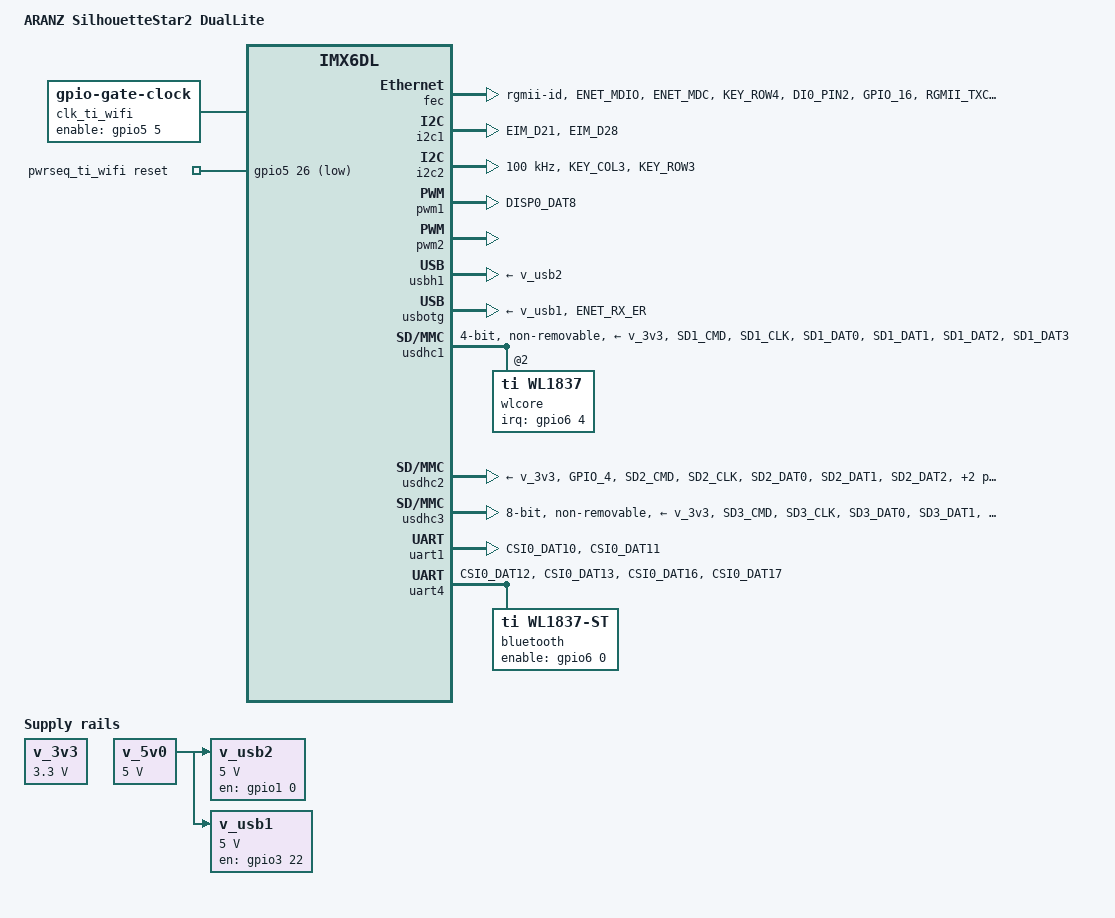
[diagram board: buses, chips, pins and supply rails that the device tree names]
/*
 * Copyright (C) 2014 Rabeeh Khoury (rabeeh@solid-run.com)
 * Based on dt work by Russell King
 *
 * This file is dual-licensed: you can use it either under the terms
 * of the GPL or the X11 license, at your option. Note that this dual
 * licensing only applies to this file, and not this project as a
 * whole.
 *
 *  a) This file is free software; you can redistribute it and/or
 *     modify it under the terms of the GNU General Public License
 *     version 2 as published by the Free Software Foundation.
 *
 *     This file is distributed in the hope that it will be useful,
 *     but WITHOUT ANY WARRANTY; without even the implied warranty of
 *     MERCHANTABILITY or FITNESS FOR A PARTICULAR PURPOSE.  See the
 *     GNU General Public License for more details.
 *
 * Or, alternatively,
 *
 *  b) Permission is hereby granted, free of charge, to any person
 *     obtaining a copy of this software and associated documentation
 *     files (the "Software"), to deal in the Software without
 *     restriction, including without limitation the rights to use,
 *     copy, modify, merge, publish, distribute, sublicense, and/or
 *     sell copies of the Software, and to permit persons to whom the
 *     Software is furnished to do so, subject to the following
 *     conditions:
 *
 *     The above copyright notice and this permission notice shall be
 *     included in all copies or substantial portions of the Software.
 *
 *     THE SOFTWARE IS PROVIDED "AS IS", WITHOUT WARRANTY OF ANY KIND,
 *     EXPRESS OR IMPLIED, INCLUDING BUT NOT LIMITED TO THE WARRANTIES
 *     OF MERCHANTABILITY, FITNESS FOR A PARTICULAR PURPOSE AND
 *     NONINFRINGEMENT. IN NO EVENT SHALL THE AUTHORS OR COPYRIGHT
 *     HOLDERS BE LIABLE FOR ANY CLAIM, DAMAGES OR OTHER LIABILITY,
 *     WHETHER IN AN ACTION OF CONTRACT, TORT OR OTHERWISE, ARISING
 *     FROM, OUT OF OR IN CONNECTION WITH THE SOFTWARE OR THE USE OR
 *     OTHER DEALINGS IN THE SOFTWARE.
 */
/dts-v1/;

#include "imx6dl.dtsi"
#include "imx6qdl-u-boot.dtsi"
#include <dt-bindings/gpio/gpio.h>

/ {
	model = "ARANZ SilhouetteStar2 DualLite";
	compatible = "fsl,imx6dl";

	memory@10000000 {
		device_type = "memory";
		reg = <0x10000000 0>;
	};

	chosen {
		stdout-path = &uart1;
	};

	v_3v3: regulator-vcc-3v3 {
		compatible = "regulator-fixed";
		regulator-always-on;
		regulator-name = "v_3v3";
		regulator-min-microvolt = <3300000>;
		regulator-max-microvolt = <3300000>;
	};

	v_5v0: regulator-v-5v0 {
		compatible = "regulator-fixed";
		regulator-always-on;
		regulator-max-microvolt = <5000000>;
		regulator-min-microvolt = <5000000>;
		regulator-name = "v_5v0";
	};

	v_usb2: regulator-v-usb2 {
		compatible = "regulator-fixed";
		enable-active-high;
		gpio = <&gpio1 0 GPIO_ACTIVE_HIGH>;
		pinctrl-names = "default";
		pinctrl-0 = <&pinctrl_silhouettestar2_usbh1_vbus>;
		regulator-max-microvolt = <5000000>;
		regulator-min-microvolt = <5000000>;
		regulator-name = "v_usb2";
		vin-supply = <&v_5v0>;
	};

	v_usb1: regulator-v-usb1 {
		compatible = "regulator-fixed";
		enable-active-high;
		gpio = <&gpio3 22 GPIO_ACTIVE_HIGH>;
		pinctrl-names = "default";
		pinctrl-0 = <&pinctrl_silhouettestar2_usbotg_vbus>;
		regulator-max-microvolt = <5000000>;
		regulator-min-microvolt = <5000000>;
		regulator-name = "v_usb1";
		vin-supply = <&v_5v0>;
	};

	clk_ti_wifi: ti-wifi-clock {
		/* This is a hack around the kernel - using "fixed clock"
		 * results in the "pinctrl" properties being ignored, and
		 * the clock not being output.  Instead, use a gated clock
		 * and the unrouted WL_XTAL_PU gpio.
		 */
		compatible = "gpio-gate-clock";
		#clock-cells = <0>;
		clock-frequency = <32768>;
		pinctrl-names = "default";
		pinctrl-0 = <&pinctrl_silhouettestar2_ti_clk>;
		enable-gpios = <&gpio5 5 GPIO_ACTIVE_HIGH>;
	};

	pwrseq_ti_wifi: ti-wifi-pwrseq {
		compatible = "mmc-pwrseq-simple";
		pinctrl-names = "default";
		pinctrl-0 = <&pinctrl_silhouettestar2_ti_wifi_en>;
		reset-gpios = <&gpio5 26 GPIO_ACTIVE_LOW>;
		post-power-on-delay-ms = <200>;
		clocks = <&clk_ti_wifi>;
		clock-names = "ext_clock";
	};
};

&fec {
	pinctrl-names = "default";
	pinctrl-0 = <&pinctrl_silhouettestar2_enet_ar8035>;
	phy-mode = "rgmii-id";
	phy-reset-duration = <2>;
	phy-reset-gpios = <&gpio4 15 GPIO_ACTIVE_LOW>;
	status = "okay";
};

&iomuxc {
	silhouettestar2 {
		pinctrl_silhouettestar2_flexcan1: silhouettestar2-flexcan1 {
			fsl,pins = <
				MX6QDL_PAD_SD3_CLK__FLEXCAN1_RX 0x80000000
				MX6QDL_PAD_SD3_CMD__FLEXCAN1_TX 0x80000000
			>;
		};

		pinctrl_silhouettestar2_gpio3_5: silhouettestar2-gpio3_5 {
			fsl,pins = <
				MX6QDL_PAD_EIM_DA5__GPIO3_IO05 0x1b0b1
			>;
		};

		pinctrl_silhouettestar2_hdmi: silhouettestar2-hdmi {
			fsl,pins = <
				MX6QDL_PAD_KEY_ROW2__HDMI_TX_CEC_LINE 0x1f8b0
			>;
		};

		pinctrl_silhouettestar2_i2c1: silhouettestar2-i2c1 {
			fsl,pins = <
				MX6QDL_PAD_EIM_D21__I2C1_SCL 0x4001b8b1
				MX6QDL_PAD_EIM_D28__I2C1_SDA 0x4001b8b1
			>;
		};

		pinctrl_silhouettestar2_i2c2: silhouettestar2-i2c2 {
			fsl,pins = <
				MX6QDL_PAD_KEY_COL3__I2C2_SCL 0x4001b8b1
				MX6QDL_PAD_KEY_ROW3__I2C2_SDA 0x4001b8b1
			>;
		};

		pinctrl_silhouettestar2_pcie_reset: silhouettestar2-pcie-reset {
			fsl,pins = <
				MX6QDL_PAD_EIM_DA4__GPIO3_IO04 0x1b0b1
			>;
		};

		pinctrl_silhouettestar2_pwm1: pwm1grp {
			fsl,pins = <MX6QDL_PAD_DISP0_DAT8__PWM1_OUT 0x1b0b1>;
		};

		pinctrl_silhouettestar2_sgtl5000: silhouettestar2-sgtl5000 {
			fsl,pins = <
				MX6QDL_PAD_DISP0_DAT19__AUD5_RXD 0x130b0
				MX6QDL_PAD_KEY_COL0__AUD5_TXC 0x130b0
				MX6QDL_PAD_KEY_ROW0__AUD5_TXD 0x110b0
				MX6QDL_PAD_KEY_COL1__AUD5_TXFS 0x130b0
				MX6QDL_PAD_GPIO_5__CCM_CLKO1 0x130b0
			>;
		};

		pinctrl_silhouettestar2_spdif: silhouettestar2-spdif {
			fsl,pins = <MX6QDL_PAD_GPIO_17__SPDIF_OUT 0x13091>;
		};

		pinctrl_silhouettestar2_usbh1_vbus: silhouettestar2-usbh1-vbus {
			fsl,pins = <MX6QDL_PAD_GPIO_0__GPIO1_IO00 0x1b0b0>;
		};

		pinctrl_silhouettestar2_usbotg_id: silhouettestar2-usbotg-id {
			/*
			 * We want it pulled down for a fixed host connection.
			 */
			fsl,pins = <MX6QDL_PAD_ENET_RX_ER__USB_OTG_ID 0x13059>;
		};

		pinctrl_silhouettestar2_usbotg_vbus: silhouettestar2-usbotg-vbus {
			fsl,pins = <MX6QDL_PAD_EIM_D22__GPIO3_IO22 0x1b0b0>;
		};

		pinctrl_silhouettestar2_usdhc2_aux: silhouettestar2-usdhc2-aux {
			fsl,pins = <
				MX6QDL_PAD_GPIO_4__GPIO1_IO04    0x1f071
			>;
		};

		pinctrl_silhouettestar2_usdhc1: silhouettestar2-usdhc1 {
			fsl,pins = <
				MX6QDL_PAD_SD1_CMD__SD1_CMD    0x17059
				MX6QDL_PAD_SD1_CLK__SD1_CLK    0x10059
				MX6QDL_PAD_SD1_DAT0__SD1_DATA0 0x17059
				MX6QDL_PAD_SD1_DAT1__SD1_DATA1 0x17059
				MX6QDL_PAD_SD1_DAT2__SD1_DATA2 0x17059
				MX6QDL_PAD_SD1_DAT3__SD1_DATA3 0x17059
			>;
		};

		pinctrl_silhouettestar2_usdhc2: silhouettestar2-usdhc2 {
			fsl,pins = <
				MX6QDL_PAD_SD2_CMD__SD2_CMD    0x17059
				MX6QDL_PAD_SD2_CLK__SD2_CLK    0x10059
				MX6QDL_PAD_SD2_DAT0__SD2_DATA0 0x17059
				MX6QDL_PAD_SD2_DAT1__SD2_DATA1 0x17059
				MX6QDL_PAD_SD2_DAT2__SD2_DATA2 0x17059
				MX6QDL_PAD_SD2_DAT3__SD2_DATA3 0x13059
			>;
		};

		pinctrl_silhouettestar2_usdhc3: silhouettestar2-usdhc3 {
			fsl,pins = <
				MX6QDL_PAD_SD3_CMD__SD3_CMD    0x17059
				MX6QDL_PAD_SD3_CLK__SD3_CLK    0x10059
				MX6QDL_PAD_SD3_DAT0__SD3_DATA0 0x17059
				MX6QDL_PAD_SD3_DAT1__SD3_DATA1 0x17059
				MX6QDL_PAD_SD3_DAT2__SD3_DATA2 0x17059
				MX6QDL_PAD_SD3_DAT3__SD3_DATA3 0x17059
				MX6QDL_PAD_SD3_DAT4__SD3_DATA4 0x17059
				MX6QDL_PAD_SD3_DAT5__SD3_DATA5 0x17059
				MX6QDL_PAD_SD3_DAT6__SD3_DATA6 0x17059
				MX6QDL_PAD_SD3_DAT7__SD3_DATA7 0x17059
				MX6QDL_PAD_SD3_RST__SD3_RESET  0x17059
			>;
		};

		pinctrl_silhouettestar2_vmmc: silhouettestar2-vmmc {
			fsl,pins = <
				MX6QDL_PAD_DISP0_DAT9__GPIO4_IO30 0x1b0b0
			>;
		};

		pinctrl_silhouettestar2_enet_ar8035: silhouettestar2-enet-ar8035 {
			fsl,pins = <
				MX6QDL_PAD_ENET_MDIO__ENET_MDIO		0x1b8b0
				MX6QDL_PAD_ENET_MDC__ENET_MDC		0x1b0b0
				/* AR8035 reset */
				MX6QDL_PAD_KEY_ROW4__GPIO4_IO15		0x130b0
				/* AR8035 interrupt */
				MX6QDL_PAD_DI0_PIN2__GPIO4_IO18		0x1b0b0
				/* GPIO16 -> AR8035 25MHz */
				MX6QDL_PAD_GPIO_16__ENET_REF_CLK	0x4001b0b0
				MX6QDL_PAD_RGMII_TXC__RGMII_TXC		0x13030
				MX6QDL_PAD_RGMII_TD0__RGMII_TD0		0x1b030
				MX6QDL_PAD_RGMII_TD1__RGMII_TD1		0x1b030
				MX6QDL_PAD_RGMII_TD2__RGMII_TD2		0x1b030
				MX6QDL_PAD_RGMII_TD3__RGMII_TD3		0x1b030
				MX6QDL_PAD_RGMII_TX_CTL__RGMII_TX_CTL	0x1b030
				/* AR8035 CLK_25M --> ENET_REF_CLK (V22) */
				MX6QDL_PAD_ENET_REF_CLK__ENET_TX_CLK	0x0a0b1
				/* AR8035 pin strapping: IO voltage: pull up */
				MX6QDL_PAD_RGMII_RXC__RGMII_RXC		0x1b030
				/* AR8035 pin strapping: PHYADDR#0: pull down */
				MX6QDL_PAD_RGMII_RD0__RGMII_RD0		0x13030
				/* AR8035 pin strapping: PHYADDR#1: pull down */
				MX6QDL_PAD_RGMII_RD1__RGMII_RD1		0x13030
				/* AR8035 pin strapping: MODE#1: pull up */
				MX6QDL_PAD_RGMII_RD2__RGMII_RD2		0x1b030
				/* AR8035 pin strapping: MODE#3: pull up */
				MX6QDL_PAD_RGMII_RD3__RGMII_RD3		0x1b030
				/* AR8035 pin strapping: MODE#0: pull down */
				MX6QDL_PAD_RGMII_RX_CTL__RGMII_RX_CTL	0x13030

				/*
				 * As the RMII pins are also connected to RGMII
				 * so that an AR8030 can be placed, set these
				 * to high-z with the same pulls as above.
				 * Use the GPIO settings to avoid changing the
				 * input select registers.
				 */
				MX6QDL_PAD_ENET_CRS_DV__GPIO1_IO25	0x03000
				MX6QDL_PAD_ENET_RXD0__GPIO1_IO27	0x03000
				MX6QDL_PAD_ENET_RXD1__GPIO1_IO26	0x03000
			>;
		};

		pinctrl_silhouettestar2_uart1: silhouettestar2-uart1 {
			fsl,pins = <
				MX6QDL_PAD_CSI0_DAT10__UART1_TX_DATA	0x1b0b1
				MX6QDL_PAD_CSI0_DAT11__UART1_RX_DATA	0x1b0b1
			>;
		};

		pinctrl_silhouettestar2_ti_bt: silhouettestar2-ti-bt {
			fsl,pins = <
				/* BT_EN_SOC */
				MX6QDL_PAD_CSI0_DAT14__GPIO6_IO00	0x40013070
			>;
		};

		pinctrl_silhouettestar2_ti_clk: silhouettestar2-ti-clk {
			fsl,pins = <
				/* EXT_32K */
				MX6QDL_PAD_GPIO_8__XTALOSC_REF_CLK_32K	0x1b0b0
				/* WL_XTAL_PU (unrouted) */
				MX6QDL_PAD_DISP0_DAT11__GPIO5_IO05 0x40013070
			>;
		};

		pinctrl_silhouettestar2_ti_wifi_en: silhouettestar2-ti-wifi-en {
			fsl,pins = <
				/* WLAN_EN_SOC */
				MX6QDL_PAD_CSI0_DAT8__GPIO5_IO26	0x40013070
			>;
		};

		pinctrl_silhouettestar2_ti_wifi_irq: silhouettestar2-ti-wifi-irq {
			fsl,pins = <
				/* WLAN_IRQ */
				MX6QDL_PAD_CSI0_DAT18__GPIO6_IO04	0x40013070
			>;
		};

		pinctrl_silhouettestar2_uart4: silhouettestar2-uart4 {
			fsl,pins = <
				MX6QDL_PAD_CSI0_DAT12__UART4_TX_DATA 0x1b0b1
				MX6QDL_PAD_CSI0_DAT13__UART4_RX_DATA 0x1b0b1
				MX6QDL_PAD_CSI0_DAT16__UART4_RTS_B 0x1b0b1
				MX6QDL_PAD_CSI0_DAT17__UART4_CTS_B 0x1b0b1
			>;
		};
	};
};

&i2c1 {
	pinctrl-names = "default";
	pinctrl-0 = <&pinctrl_silhouettestar2_i2c1>;
	status = "okay";
};

&i2c2 {
	clock-frequency = <100000>;
	pinctrl-names = "default";
	pinctrl-0 = <&pinctrl_silhouettestar2_i2c2>;
	status = "okay";
};

&pwm1 {
	 pinctrl-names = "default";
	 pinctrl-0 = <&pinctrl_silhouettestar2_pwm1>;
	 status = "okay";
};

&pwm2 {
	 pinctrl-names = "default";
	 status = "okay";
};

&usbh1 {
	disable-over-current;
	vbus-supply = <&v_usb2>;
	status = "okay";
};

&usbotg {
	disable-over-current;
	pinctrl-names = "default";
	pinctrl-0 = <&pinctrl_silhouettestar2_usbotg_id>;
	vbus-supply = <&v_usb1>;
	status = "okay";
};

/* USDHC1 - Connected to optional TI Wi-Fi/BT/FM */
&usdhc1 {
	pinctrl-names = "default";
	pinctrl-0 = <&pinctrl_silhouettestar2_usdhc1>;
	bus-width = <4>;
	keep-power-in-suspend;
	mmc-pwrseq = <&pwrseq_ti_wifi>;
	non-removable;
	vmmc-supply = <&v_3v3>;
	status = "okay";
	#address-cells = <1>;
	#size-cells = <0>;

	wlcore@2 {
		compatible = "ti,wl1837";
		reg = <2>;
		interrupts-extended = <&gpio6 4 IRQ_TYPE_LEVEL_HIGH>;
		pinctrl-names = "default";
		pinctrl-0 = <&pinctrl_silhouettestar2_ti_wifi_irq>;
	};
};

&usdhc2 {
	pinctrl-names = "default";
	pinctrl-0 = <
		&pinctrl_silhouettestar2_usdhc2_aux
		&pinctrl_silhouettestar2_usdhc2
	>;
	vmmc-supply = <&v_3v3>;
	cd-gpios = <&gpio1 4 GPIO_ACTIVE_LOW>;
	status = "okay";
};

&usdhc3 {
	pinctrl-names = "default";
	pinctrl-0 = <&pinctrl_silhouettestar2_usdhc3>;
	vmmc-supply = <&v_3v3>;
	vqmmc-supply = <&v_3v3>;
	bus-width = <8>;
	non-removable;
	status = "okay";
};

&uart1 {
	pinctrl-names = "default";
	pinctrl-0 = <&pinctrl_silhouettestar2_uart1>;
	status = "okay";
};

/* UART4 - Connected to optional TI Wi-Fi/BT/FM */
&uart4 {
	pinctrl-names = "default";
	pinctrl-0 = <&pinctrl_silhouettestar2_uart4>;
	uart-has-rtscts;
	status = "okay";

	bluetooth {
		compatible = "ti,wl1837-st";
		clocks = <&clk_ti_wifi>;
		clock-names = "ext_clock";
		enable-gpios = <&gpio6 0 GPIO_ACTIVE_HIGH>;
		pinctrl-names = "default";
		pinctrl-0 = <&pinctrl_silhouettestar2_ti_bt>;
	};
};
